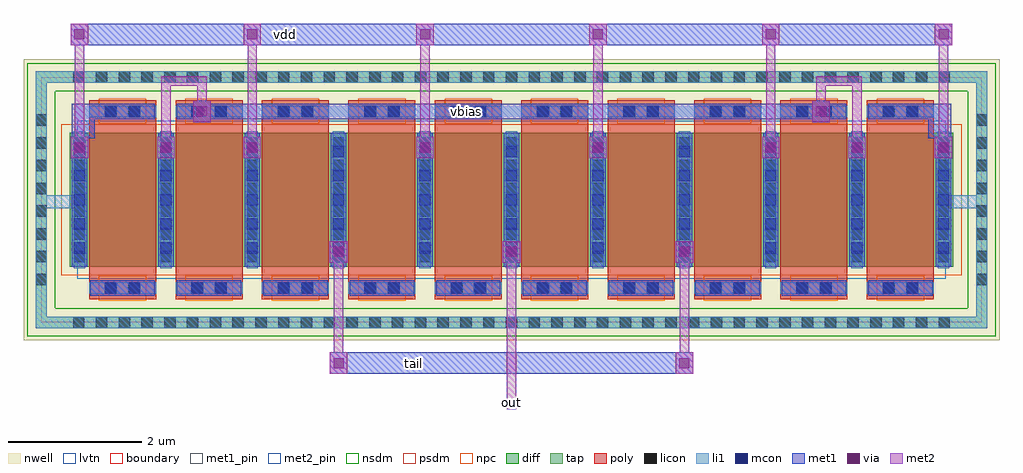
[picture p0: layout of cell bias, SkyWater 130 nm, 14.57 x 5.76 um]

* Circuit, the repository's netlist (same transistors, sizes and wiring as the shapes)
* SPDX-License-Identifier: Apache-2.0
* Copyright 2026 Mauro Rodriguez Blasco
*
* Fourth layout exercise: the comparator's PMOS bias mirror, one unit w=2 l=1: the diode XM8
* (2 units), the tail source XM5 (4) and the second stage's load XM7 (2), as one low-Vt device
* of ten fingers in one n-well with its guard ring, in the order D 8 5 5 7 7 5 5 8 D. All gates
* are vbias and all sources vdd, so neighbours of different transistors share a vdd column; the
* two XM7 fingers share the out column, the node that swings rail to rail, and the dummies
* touch vbias, a DC node where their capacitance does no harm. Its errors change the currents
* by a few per cent but hardly the offset (0.03 mV for 5 %).
* Diffusion columns, left to right: vdd vbias vdd tail vdd out vdd tail vdd vbias vdd.
* Guard ring (the body): vdd. Reference for LVS (scripts/flow.py lvs bias).
.subckt bias vbias tail out vdd
XM8 vbias vbias vdd vdd sky130_fd_pr__pfet_01v8_lvt w=2 l=1 mult=2 m=2
XM5 tail vbias vdd vdd sky130_fd_pr__pfet_01v8_lvt w=2 l=1 mult=4 m=4
XM7 out vbias vdd vdd sky130_fd_pr__pfet_01v8_lvt w=2 l=1 mult=2 m=2
XMD vbias vdd vdd vdd sky130_fd_pr__pfet_01v8_lvt w=2 l=1 mult=2 m=2
.ends bias

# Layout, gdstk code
import gdstk
lib = gdstk.Library(unit=1e-6, precision=1e-09)
def R(c, l, rs):  # rectangles x0, y0, x1, y1
    for r in rs: c.add(gdstk.rectangle(r[:2], r[2:], *l))
def A(c, l, x, y, w, h, nx, ny, dx, dy):  # array of equal rectangles
    R(c, l, [(x+i*dx, y+j*dy, x+i*dx+w, y+j*dy+h) for i in range(nx) for j in range(ny)])
nwell = (64, 20)
diff = (65, 20)
tap = (65, 44)
poly = (66, 20)
licon = (66, 44)
li1 = (67, 20)
mcon = (67, 44)
met1_pin = (68, 16)
met1 = (68, 20)
via = (68, 44)
met2_pin = (69, 16)
met2 = (69, 20)
nsdm = (93, 44)
psdm = (94, 20)
npc = (95, 20)
lvtn = (125, 44)
boundary = (235, 4)

sky130_fd_pr__pfet_01v8_ = lib.new_cell('sky130_fd_pr__pfet_01v8_lvt_XWUKYC')
R(sky130_fd_pr__pfet_01v8_, nwell, [(-7.285,-2.095,7.285,2.095)])
R(sky130_fd_pr__pfet_01v8_, diff, [(-6.595,-1,6.595,1)])
R(sky130_fd_pr__pfet_01v8_, tap, [(-7.105,-1.915,7.105,-1.745), (-7.105,-1.745,-6.935,1.745), (6.935,-1.745,7.105,1.745), (-7.105,1.745,7.105,1.915)])
A(sky130_fd_pr__pfet_01v8_, poly, -6.305, -1.485, 1, 2.97, 10, 1, 1.29, 0)
A(sky130_fd_pr__pfet_01v8_, licon, -6.545, -1.915, 0.17, 0.17, 39, 2, 0.34, 3.66)
A(sky130_fd_pr__pfet_01v8_, licon, -7.105, -1.275, 0.17, 0.17, 1, 8, 0, 0.34)
A(sky130_fd_pr__pfet_01v8_, licon, 6.935, -1.275, 0.17, 0.17, 1, 8, 0, 0.34)
A(sky130_fd_pr__pfet_01v8_, licon, -6.535, -0.935, 0.17, 0.17, 11, 6, 1.29, 0.34)
R(sky130_fd_pr__pfet_01v8_, licon, [(-6.06,-1.405,-5.89,-1.235), (-5.72,-1.405,-5.55,-1.235), (-4.77,-1.405,-4.6,-1.235), (-4.43,-1.405,-4.26,-1.235), (-3.48,-1.405,-3.31,-1.235), (-3.14,-1.405,-2.97,-1.235), (-2.19,-1.405,-2.02,-1.235), (-1.85,-1.405,-1.68,-1.235), (-0.9,-1.405,-0.73,-1.235), (-0.56,-1.405,-0.39,-1.235), (0.39,-1.405,0.56,-1.235), (0.73,-1.405,0.9,-1.235), (1.68,-1.405,1.85,-1.235), (2.02,-1.405,2.19,-1.235), (2.97,-1.405,3.14,-1.235), (3.31,-1.405,3.48,-1.235), (4.26,-1.405,4.43,-1.235), (4.6,-1.405,4.77,-1.235), (5.55,-1.405,5.72,-1.235), (5.89,-1.405,6.06,-1.235), (-6.06,1.235,-5.89,1.405), (-5.72,1.235,-5.55,1.405), (-4.77,1.235,-4.6,1.405), (-4.43,1.235,-4.26,1.405), (-3.48,1.235,-3.31,1.405), (-3.14,1.235,-2.97,1.405), (-2.19,1.235,-2.02,1.405), (-1.85,1.235,-1.68,1.405), (-0.9,1.235,-0.73,1.405), (-0.56,1.235,-0.39,1.405), (0.39,1.235,0.56,1.405), (0.73,1.235,0.9,1.405), (1.68,1.235,1.85,1.405), (2.02,1.235,2.19,1.405), (2.97,1.235,3.14,1.405), (3.31,1.235,3.48,1.405), (4.26,1.235,4.43,1.405), (4.6,1.235,4.77,1.405), (5.55,1.235,5.72,1.405), (5.89,1.235,6.06,1.405)])
A(sky130_fd_pr__pfet_01v8_, li1, -6.305, -1.405, 1, 0.17, 10, 2, 1.29, 2.64)
A(sky130_fd_pr__pfet_01v8_, li1, -6.535, -1.02, 0.17, 2.04, 11, 1, 1.29, 0)
R(sky130_fd_pr__pfet_01v8_, li1, [(-7.105,-1.915,7.105,-1.745), (-7.105,-1.745,-6.935,1.745), (6.935,-1.745,7.105,1.745), (-7.105,1.745,7.105,1.915)])
A(sky130_fd_pr__pfet_01v8_, mcon, -6.535, -0.805, 0.17, 0.17, 11, 5, 1.29, 0.36)
R(sky130_fd_pr__pfet_01v8_, mcon, [(-6.07,-1.405,-5.9,-1.235), (-5.71,-1.405,-5.54,-1.235), (-4.78,-1.405,-4.61,-1.235), (-4.42,-1.405,-4.25,-1.235), (-3.49,-1.405,-3.32,-1.235), (-3.13,-1.405,-2.96,-1.235), (-2.2,-1.405,-2.03,-1.235), (-1.84,-1.405,-1.67,-1.235), (-0.91,-1.405,-0.74,-1.235), (-0.55,-1.405,-0.38,-1.235), (0.38,-1.405,0.55,-1.235), (0.74,-1.405,0.91,-1.235), (1.67,-1.405,1.84,-1.235), (2.03,-1.405,2.2,-1.235), (2.96,-1.405,3.13,-1.235), (3.32,-1.405,3.49,-1.235), (4.25,-1.405,4.42,-1.235), (4.61,-1.405,4.78,-1.235), (5.54,-1.405,5.71,-1.235), (5.9,-1.405,6.07,-1.235), (-6.07,1.235,-5.9,1.405), (-5.71,1.235,-5.54,1.405), (-4.78,1.235,-4.61,1.405), (-4.42,1.235,-4.25,1.405), (-3.49,1.235,-3.32,1.405), (-3.13,1.235,-2.96,1.405), (-2.2,1.235,-2.03,1.405), (-1.84,1.235,-1.67,1.405), (-0.91,1.235,-0.74,1.405), (-0.55,1.235,-0.38,1.405), (0.38,1.235,0.55,1.405), (0.74,1.235,0.91,1.405), (1.67,1.235,1.84,1.405), (2.03,1.235,2.2,1.405), (2.96,1.235,3.13,1.405), (3.32,1.235,3.49,1.405), (4.25,1.235,4.42,1.405), (4.61,1.235,4.78,1.405), (5.54,1.235,5.71,1.405), (5.9,1.235,6.07,1.405)])
A(sky130_fd_pr__pfet_01v8_, met1, -6.285, -1.435, 0.96, 0.23, 10, 2, 1.29, 2.64)
A(sky130_fd_pr__pfet_01v8_, met1, -6.565, -1, 0.23, 2, 11, 1, 1.29, 0)
R(sky130_fd_pr__pfet_01v8_, nsdm, [(-7.23,-2.04,7.23,-1.62), (-7.23,-1.62,-6.81,1.62), (6.81,-1.62,7.23,1.62), (-7.23,1.62,7.23,2.04)])
R(sky130_fd_pr__pfet_01v8_, psdm, [(-6.72,-1.125,6.72,1.125)])
A(sky130_fd_pr__pfet_01v8_, npc, -6.16, -1.505, 0.71, 0.37, 10, 2, 1.29, 2.64)
R(sky130_fd_pr__pfet_01v8_, lvtn, [(-6.485,-1.18,6.485,1.18)])
R(sky130_fd_pr__pfet_01v8_, boundary, [(-7.02,-1.83,7.02,1.83)])
sky130_fd_pr__pfet_01v8_.add(gdstk.Label('B', (0,-1.83), layer=67, texttype=5))
sky130_fd_pr__pfet_01v8_.add(gdstk.Label('D0', (-6.45,0), layer=67, texttype=5))
sky130_fd_pr__pfet_01v8_.add(gdstk.Label('G0', (-5.805,1.32), layer=67, texttype=5))
sky130_fd_pr__pfet_01v8_.add(gdstk.Label('S1', (-5.16,0), layer=67, texttype=5))
sky130_fd_pr__pfet_01v8_.add(gdstk.Label('G1', (-4.515,1.32), layer=67, texttype=5))
sky130_fd_pr__pfet_01v8_.add(gdstk.Label('D2', (-3.87,0), layer=67, texttype=5))
sky130_fd_pr__pfet_01v8_.add(gdstk.Label('G2', (-3.225,1.32), layer=67, texttype=5))
sky130_fd_pr__pfet_01v8_.add(gdstk.Label('S3', (-2.58,0), layer=67, texttype=5))
sky130_fd_pr__pfet_01v8_.add(gdstk.Label('G3', (-1.935,1.32), layer=67, texttype=5))
sky130_fd_pr__pfet_01v8_.add(gdstk.Label('D4', (-1.29,0), layer=67, texttype=5))
sky130_fd_pr__pfet_01v8_.add(gdstk.Label('G4', (-0.645,1.32), layer=67, texttype=5))
sky130_fd_pr__pfet_01v8_.add(gdstk.Label('S5', (0,0), layer=67, texttype=5))
sky130_fd_pr__pfet_01v8_.add(gdstk.Label('G5', (0.645,1.32), layer=67, texttype=5))
sky130_fd_pr__pfet_01v8_.add(gdstk.Label('D6', (1.29,0), layer=67, texttype=5))
sky130_fd_pr__pfet_01v8_.add(gdstk.Label('G6', (1.935,1.32), layer=67, texttype=5))
sky130_fd_pr__pfet_01v8_.add(gdstk.Label('S7', (2.58,0), layer=67, texttype=5))
sky130_fd_pr__pfet_01v8_.add(gdstk.Label('G7', (3.225,1.32), layer=67, texttype=5))
sky130_fd_pr__pfet_01v8_.add(gdstk.Label('D8', (3.87,0), layer=67, texttype=5))
sky130_fd_pr__pfet_01v8_.add(gdstk.Label('G8', (4.515,1.32), layer=67, texttype=5))
sky130_fd_pr__pfet_01v8_.add(gdstk.Label('S9', (5.16,0), layer=67, texttype=5))
sky130_fd_pr__pfet_01v8_.add(gdstk.Label('G9', (5.805,1.32), layer=67, texttype=5))

bias = lib.new_cell('bias')
R(bias, li1, [(-0.085,1.7,0.6,1.9), (13.44,1.7,14.125,1.9)])
R(bias, met1_pin, [(5.5,-0.66,5.6,-0.56), (6.3,3.1,6.4,3.2), (3.6,4.25,3.7,4.35)])
A(bias, met1, 4.31, 0.89, 0.26, 0.32, 3, 1, 2.58, 0)
A(bias, met1, 3.02, 2.45, 0.26, 0.32, 4, 1, 2.58, 0)
R(bias, met1, [(4.31,-0.77,9.73,-0.45), (0.44,2.45,0.7,2.75), (1.73,2.45,1.99,2.77), (12.05,2.45,12.31,2.77), (13.34,2.45,13.6,2.75), (0.44,2.75,0.8,2.77), (13.24,2.75,13.6,2.77), (0.455,2.77,0.8,3.265), (13.24,2.77,13.585,3.265), (2.27,2.99,2.53,3.035), (11.51,2.99,11.77,3.035), (2.025,3.035,12.015,3.265), (2.27,3.265,2.53,3.31), (11.51,3.265,11.77,3.31), (0.44,4.14,13.6,4.46)])
A(bias, via, 4.365, 0.975, 0.15, 0.15, 3, 1, 2.58, 0)
A(bias, via, 0.495, 2.535, 0.15, 0.15, 3, 1, 1.29, 0)
A(bias, via, 5.655, 2.535, 0.15, 0.15, 3, 1, 2.58, 0)
A(bias, via, 0.495, 4.225, 0.15, 0.15, 6, 1, 2.58, 0)
R(bias, via, [(4.365,-0.685,4.515,-0.535), (9.525,-0.685,9.675,-0.535), (12.105,2.535,12.255,2.685), (13.395,2.535,13.545,2.685), (2.325,3.075,2.475,3.225), (11.565,3.075,11.715,3.225)])
R(bias, met2_pin, [(6.98,-1.25,7.06,-1.15)])
A(bias, met2, 4.31, 0.89, 0.26, 0.32, 3, 1, 2.58, 0)
A(bias, met2, 0.44, 2.45, 0.26, 0.32, 3, 1, 1.29, 0)
A(bias, met2, 5.6, 2.45, 0.26, 0.32, 3, 1, 2.58, 0)
A(bias, met2, 0.5, 2.77, 0.14, 1.37, 6, 1, 2.58, 0)
A(bias, met2, 0.44, 4.14, 0.26, 0.32, 6, 1, 2.58, 0)
R(bias, met2, [(6.95,-1.3,7.09,0.89), (4.31,-0.77,4.57,-0.45), (9.47,-0.77,9.73,-0.45), (4.37,-0.45,4.51,0.89), (9.53,-0.45,9.67,0.89), (12.05,2.45,12.31,2.77), (13.34,2.45,13.6,2.77), (1.79,2.77,1.93,3.53), (12.11,2.77,12.25,3.53), (2.27,2.99,2.53,3.31), (11.51,2.99,11.77,3.31), (2.33,3.31,2.47,3.53), (11.57,3.31,11.71,3.53), (1.79,3.53,2.47,3.67), (11.57,3.53,12.25,3.67)])
bias.add(gdstk.Reference(sky130_fd_pr__pfet_01v8_, (7.02,1.83)))
bias.add(gdstk.Label('vbias', (6.35,3.15), layer=68, texttype=5))
bias.add(gdstk.Label('vdd', (3.65,4.3), layer=68, texttype=5))
bias.add(gdstk.Label('tail', (5.55,-0.61), layer=68, texttype=5))
bias.add(gdstk.Label('out', (7.02,-1.2), layer=69, texttype=5))

lib.write_gds('bias.gds')
